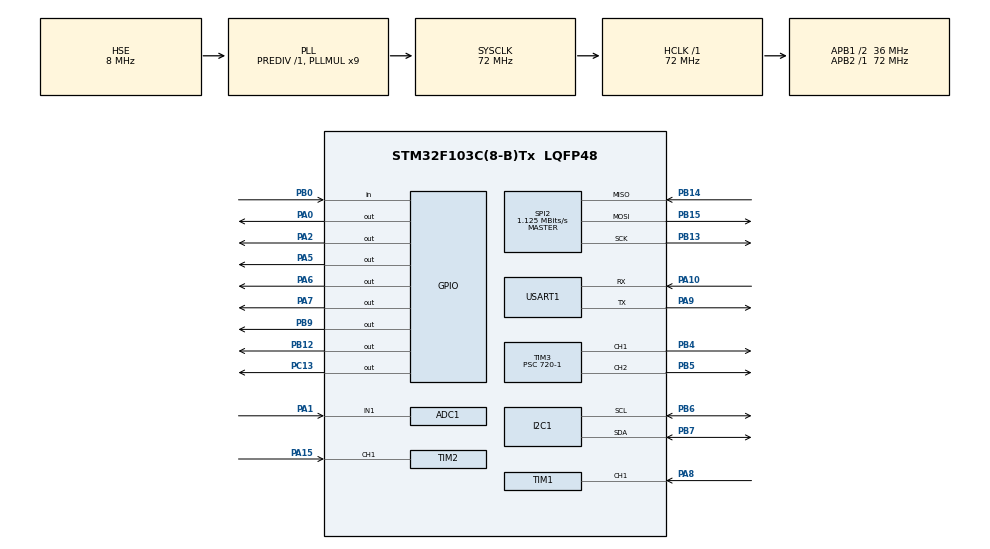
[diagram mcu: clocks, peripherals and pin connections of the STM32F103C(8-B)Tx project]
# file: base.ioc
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ADC1.Channel-0\#ChannelRegularConversion=ADC_CHANNEL_1
ADC1.ContinuousConvMode=ENABLE
ADC1.NbrOfConversionFlag=1
ADC1.Rank-0\#ChannelRegularConversion=1
ADC1.SamplingTime-0\#ChannelRegularConversion=ADC_SAMPLETIME_1CYCLE_5
ADC1.master=1
Mcu.Family=STM32F1
Mcu.Name=STM32F103C(8-B)Tx
Mcu.Package=LQFP48
NVIC.PriorityGroup=NVIC_PRIORITYGROUP_4
NVIC.TIM1_BRK_IRQn=true\:4\:0\:true\:false\:true\:true\:true\:true
NVIC.TIM1_CC_IRQn=true\:4\:0\:true\:false\:true\:true\:true\:true
NVIC.TIM1_TRG_COM_IRQn=true\:4\:0\:true\:false\:true\:true\:true\:true
NVIC.TIM1_UP_IRQn=true\:4\:0\:true\:false\:true\:true\:true\:true
NVIC.TIM3_IRQn=true\:2\:0\:true\:false\:true\:true\:true\:true
NVIC.TIM4_IRQn=true\:15\:0\:false\:false\:true\:false\:true\:true
NVIC.TimeBase=TIM4_IRQn
NVIC.TimeBaseIP=TIM4
PA0-WKUP.GPIO_ModeDefaultOutputPP=GPIO_MODE_OUTPUT_PP
PA0-WKUP.GPIO_PuPd=GPIO_NOPULL
PA0-WKUP.PinState=GPIO_PIN_RESET
PA0-WKUP.Signal=GPIO_Output
PA1.Signal=ADCx_IN1
PA10.Mode=Asynchronous
PA10.Signal=USART1_RX
PA13.Mode=Serial_Wire
PA13.Signal=SYS_JTMS-SWDIO
PA14.Mode=Serial_Wire
PA14.Signal=SYS_JTCK-SWCLK
PA15.Signal=S_TIM2_CH1_ETR
PA2.GPIO_ModeDefaultOutputPP=GPIO_MODE_OUTPUT_PP
PA2.Signal=GPIO_Output
PA5.GPIO_ModeDefaultOutputPP=GPIO_MODE_OUTPUT_PP
PA5.Signal=GPIO_Output
PA6.GPIO_ModeDefaultOutputPP=GPIO_MODE_OUTPUT_OD
PA6.GPIO_PuPd=GPIO_NOPULL
PA6.GPIO_Speed=GPIO_SPEED_FREQ_HIGH
PA6.Signal=GPIO_Output
PA7.GPIO_ModeDefaultOutputPP=GPIO_MODE_OUTPUT_PP
PA7.GPIO_PuPd=GPIO_PULLUP
PA7.PinState=GPIO_PIN_SET
PA7.Signal=GPIO_Output
PA8.Signal=S_TIM1_CH1
PA9.Mode=Asynchronous
PA9.Signal=USART1_TX
PB0.GPIO_Mode=GPIO_MODE_INPUT
PB0.GPIO_PuPd=GPIO_PULLUP
PB0.Signal=GPIO_Input
PB12.GPIO_ModeDefaultOutputPP=GPIO_MODE_OUTPUT_PP
PB12.GPIO_Speed=GPIO_SPEED_FREQ_HIGH
PB12.PinState=GPIO_PIN_SET
PB12.Signal=GPIO_Output
PB13.Mode=Full_Duplex_Master
PB13.Signal=SPI2_SCK
PB14.Mode=Full_Duplex_Master
PB14.Signal=SPI2_MISO
PB15.Mode=Full_Duplex_Master
PB15.Signal=SPI2_MOSI
PB4.Signal=S_TIM3_CH1
PB5.Signal=S_TIM3_CH2
PB6.Mode=I2C
PB6.Signal=I2C1_SCL
PB7.Mode=I2C
PB7.Signal=I2C1_SDA
PB9.GPIO_ModeDefaultOutputPP=GPIO_MODE_OUTPUT_PP
PB9.Signal=GPIO_Output
PC13-TAMPER-RTC.Signal=GPIO_Output
PC14-OSC32_IN.Mode=LSE-External-Oscillator
PC14-OSC32_IN.Signal=RCC_OSC32_IN
PC15-OSC32_OUT.Mode=LSE-External-Oscillator
PC15-OSC32_OUT.Signal=RCC_OSC32_OUT
PD0-OSC_IN.Mode=HSE-External-Oscillator
PD0-OSC_IN.Signal=RCC_OSC_IN
PD1-OSC_OUT.Mode=HSE-External-Oscillator
PD1-OSC_OUT.Signal=RCC_OSC_OUT
ProjectManager.HeapSize=0x200
ProjectManager.StackSize=0x400
ProjectManager.TargetToolchain=MDK-ARM V5.32
RCC.ADCPresc=RCC_ADCPCLK2_DIV6
RCC.AHBFreq_Value=72000000
RCC.APB1CLKDivider=RCC_HCLK_DIV2
RCC.APB1Freq_Value=36000000
RCC.APB1TimFreq_Value=72000000
RCC.APB2Freq_Value=72000000
RCC.APB2TimFreq_Value=72000000
RCC.HCLKFreq_Value=72000000
RCC.PLLMUL=RCC_PLL_MUL9
RCC.PLLSourceVirtual=RCC_PLLSOURCE_HSE
RCC.RTCClockSelection=RCC_RTCCLKSOURCE_LSE
RCC.SYSCLKFreq_VALUE=72000000
RCC.SYSCLKSource=RCC_SYSCLKSOURCE_PLLCLK
RCC.USBFreq_Value=72000000
RTC.Date=30
RTC.Hours=19
RTC.Month=RTC_MONTH_JUNE
RTC.Year=26
SH.ADCx_IN1.0=ADC1_IN1,IN1
SH.S_TIM1_CH1.0=TIM1_CH1,Input_Capture1_from_TI1
SH.S_TIM2_CH1_ETR.0=TIM2_CH1,Input_Capture1_from_TI1
SH.S_TIM3_CH1.0=TIM3_CH1,PWM Generation1 CH1
SH.S_TIM3_CH2.0=TIM3_CH2,PWM Generation2 CH2
SPI2.BaudRatePrescaler=SPI_BAUDRATEPRESCALER_32
SPI2.CLKPhase=SPI_PHASE_2EDGE
SPI2.CLKPolarity=SPI_POLARITY_HIGH
SPI2.CalculateBaudRate=1.125 MBits/s
SPI2.Direction=SPI_DIRECTION_2LINES
SPI2.Mode=SPI_MODE_MASTER
SPI2.VirtualType=VM_MASTER
TIM1.AutoReloadPreload=TIM_AUTORELOAD_PRELOAD_ENABLE
TIM1.Channel-Input_Capture1_from_TI1=TIM_CHANNEL_1
TIM1.ICPolarity_CH1=TIM_INPUTCHANNELPOLARITY_FALLING
TIM1.Period=10000-1
TIM1.Prescaler=72-1
TIM2.AutoReloadPreload=TIM_AUTORELOAD_PRELOAD_ENABLE
TIM2.Channel-Input_Capture1_from_TI1=TIM_CHANNEL_1
TIM2.Channel-Input_Capture2_from_TI1_63=TIM_CHANNEL_2
TIM2.ICPolarity_CH2=TIM_INPUTCHANNELPOLARITY_FALLING
TIM2.Period=65535
TIM2.Prescaler=72-1
TIM3.AutoReloadPreload=TIM_AUTORELOAD_PRELOAD_ENABLE
TIM3.Channel-PWM\ Generation1\ CH1=TIM_CHANNEL_1
TIM3.Channel-PWM\ Generation2\ CH2=TIM_CHANNEL_2
TIM3.Period=2000-1
TIM3.Prescaler=720-1
USART1.VirtualMode=VM_ASYNC
VP_RTC_VS_RTC_Activate.Mode=RTC_Enabled
VP_RTC_VS_RTC_Calendar.Mode=RTC_Calendar
VP_SYS_VS_tim4.Mode=TIM4
VP_TIM1_VS_ClockSourceINT.Mode=Internal
VP_TIM2_VS_ClockSourceINT.Mode=Internal
VP_TIM2_VS_indirect_ch1.Mode=Input_Capture2_from_TI1_63
VP_TIM3_VS_ClockSourceINT.Mode=Internal
board=custom

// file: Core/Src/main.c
/* USER CODE BEGIN Header */
/**
  ******************************************************************************
  * @file           : main.c
  * @brief          : Main program body
  ******************************************************************************
  * @attention
  *
  * Copyright (c) 2026 STMicroelectronics.
  * All rights reserved.
  *
  * This software is licensed under terms that can be found in the LICENSE file
  * in the root directory of this software component.
  * If no LICENSE file comes with this software, it is provided AS-IS.
  *
  ******************************************************************************
  */
/* USER CODE END Header */
#include "main.h"
#include "adc.h"
#include "i2c.h"
#include "rtc.h"
#include "spi.h"
#include "tim.h"
#include "usart.h"
#include "gpio.h"

/* USER CODE BEGIN Includes */
#include "FreeRTOS.h"
#include "task.h"
#include "lightADC.h"
#include "IR.h"
#include "CurtainSwitch.h"
#include "DHT11.h"
#include "buzzer.h"
#include <stdio.h>
#include <string.h>
#include "semphr.h"
#include "event_groups.h"
#include <stdlib.h>
#include <math.h>
/* USER CODE END Includes */

/* USER CODE BEGIN PTD */
#define EVENT_LED_FLASH  (1 << 0)
#define EVENT_BEEP       (1 << 1)
#define EVENT_OLED       (1 << 2)
#define EVENT_CLOSE      (1 << 3)
SemaphoreHandle_t xSemaphore;
EventGroupHandle_t xEventgroup;
QueueHandle_t xSemaphoreMutex;
QueueHandle_t xqueueRedata;  // 红外数据接收队列
EventGroupHandle_t xEventGroupRedTask;

TaskHandle_t start_task_handle;
TaskHandle_t light_task_handle;
TaskHandle_t temp_task_handle;
TaskHandle_t ultrasound_task_handle;
TaskHandle_t rtcTime_task_handle;
TaskHandle_t pwmLed_task_handle;
TaskHandle_t red_task_handle;
TaskHandle_t  event_dispatch_task_handle;
TaskHandle_t flashing_task_handle;

void start_task(void *pvParameters);
void light_task(void *pvParameters);
void temp_task(void *pvParameters);
void pwmLed_task(void *pvParameters);
void ultrasound_task(void *pvParameters);
void rtcTime_task(void *pvParameters);
void red_task(void *pvParameters);
void event_dispatch_task(void *pvParameters);
void flashing_task(void *pvParameters);

#define EVENT_LED (1<<0)
// ??????????????
#define REMOTE_ID 0x00

// ????????????
uint8_t RmtSta = 0;
uint16_t Dval;
uint32_t RmtRec = 0;
uint8_t RmtCnt = 0;

extern uint8_t tim_udt_cnt;
extern uint8_t cap_pol;
extern uint8_t cap_pulse_cnt;
extern uint8_t sta_idle;
extern uint8_t cap_frame;

/* USER CODE END PTD */

/* USER CODE BEGIN PM */
void switch_num(uint16_t num);
/* USER CODE END PM */

void SystemClock_Config(void);

int main(void)
{

  /* MCU Configuration--------------------------------------------------------*/

  /* Reset of all peripherals, Initializes the Flash interface and the Systick. */
  HAL_Init();

  /* Configure the system clock */
  SystemClock_Config();

  /* USER CODE BEGIN SysInit */
// PA0 ?????????500ms??????

  /* USER CODE END SysInit */

  /* Initialize all configured peripherals */
  MX_GPIO_Init();
  MX_USART1_UART_Init();
  MX_ADC1_Init();
  MX_TIM1_Init();
  MX_RTC_Init();
  MX_TIM2_Init();
  MX_TIM3_Init();
  MX_SPI2_Init();
  MX_I2C1_Init();
  /* USER CODE BEGIN 2 */
HAL_TIM_PWM_Start(&htim3,TIM_CHANNEL_1);
HAL_TIM_PWM_Start(&htim3,TIM_CHANNEL_2);
__HAL_TIM_SET_COMPARE(&htim3,TIM_CHANNEL_2,0);

    HAL_TIM_Base_Start_IT(&htim1);
    HAL_TIM_IC_Start_IT(&htim1,TIM_CHANNEL_1);
// HAL_TIM_IC_Start_IT(&htim1,TIM_CHANNEL_2);
// __HAL_TIM_SET_CAPTUREPOLARITY(&htim1,TIM_CHANNEL_2,TIM_ICPOLARITY_FALLING);
// TIM1->CNT=0;
// ????RTC??
RTC_TimeTypeDef timeCfg = {0};
timeCfg.Hours = 22;    // ?? 0~23
timeCfg.Minutes = 0;  // ?? 0~59
timeCfg.Seconds = 0;  // ? 0~59
HAL_RTC_SetTime(&hrtc, &timeCfg, RTC_FORMAT_BIN);

RTC_DateTypeDef dateCfg = {0};
dateCfg.WeekDay = RTC_WEEKDAY_TUESDAY; // ??
dateCfg.Month = RTC_MONTH_JUNE;        // ??
dateCfg.Date = 30;                     // ??
dateCfg.Year = 26;                     // ?????2026
HAL_RTC_SetDate(&hrtc, &dateCfg, RTC_FORMAT_BIN);
  /* USER CODE END 2 */

  /* Infinite loop */
  /* USER CODE BEGIN WHILE */

  // ???????????¨??????
  BaseType_t createRet = xTaskCreate(start_task, "start_task", 128, NULL, 2, &start_task_handle);
  if(createRet != pdPASS)
  {
    while(1)
    {
      HAL_GPIO_TogglePin(GPIOA, GPIO_PIN_0);
      HAL_Delay(300);
    }
  }

  vTaskStartScheduler();

  while (1)
  {
    /* USER CODE END WHILE */

  }
}

void SystemClock_Config(void)
{
  RCC_OscInitTypeDef RCC_OscInitStruct = {0};
  RCC_ClkInitTypeDef RCC_ClkInitStruct = {0};
  RCC_PeriphCLKInitTypeDef PeriphClkInit = {0};

  /** Initializes the RCC Oscillators according to the specified parameters
  * in the RCC_OscInitTypeDef structure.
  */
  RCC_OscInitStruct.OscillatorType = RCC_OSCILLATORTYPE_HSE|RCC_OSCILLATORTYPE_LSE;
  RCC_OscInitStruct.HSEState = RCC_HSE_ON;
  RCC_OscInitStruct.HSEPredivValue = RCC_HSE_PREDIV_DIV1;
  RCC_OscInitStruct.LSEState = RCC_LSE_ON;
  RCC_OscInitStruct.HSIState = RCC_HSI_ON;
  RCC_OscInitStruct.PLL.PLLState = RCC_PLL_ON;
  RCC_OscInitStruct.PLL.PLLSource = RCC_PLLSOURCE_HSE;
  RCC_OscInitStruct.PLL.PLLMUL = RCC_PLL_MUL9;
  if (HAL_RCC_OscConfig(&RCC_OscInitStruct) != HAL_OK)
  {
    Error_Handler();
  }

  /** Initializes the CPU, AHB and APB buses clocks
  */
  RCC_ClkInitStruct.ClockType = RCC_CLOCKTYPE_HCLK|RCC_CLOCKTYPE_SYSCLK
                              |RCC_CLOCKTYPE_PCLK1|RCC_CLOCKTYPE_PCLK2;
  RCC_ClkInitStruct.SYSCLKSource = RCC_SYSCLKSOURCE_PLLCLK;
  RCC_ClkInitStruct.AHBCLKDivider = RCC_SYSCLK_DIV1;
  RCC_ClkInitStruct.APB1CLKDivider = RCC_HCLK_DIV2;
  RCC_ClkInitStruct.APB2CLKDivider = RCC_HCLK_DIV1;

  if (HAL_RCC_ClockConfig(&RCC_ClkInitStruct, FLASH_LATENCY_2) != HAL_OK)
  {
    Error_Handler();
  }
  PeriphClkInit.PeriphClockSelection = RCC_PERIPHCLK_RTC|RCC_PERIPHCLK_ADC;
  PeriphClkInit.RTCClockSelection = RCC_RTCCLKSOURCE_LSE;
  PeriphClkInit.AdcClockSelection = RCC_ADCPCLK2_DIV6;
  if (HAL_RCCEx_PeriphCLKConfig(&PeriphClkInit) != HAL_OK)
  {
    Error_Handler();
  }
}

/* USER CODE BEGIN 4 */

void start_task(void *pvParameters)
{
  char buff[32];
  xSemaphore = xSemaphoreCreateCounting( 1, 1 );
  xEventgroup=xEventGroupCreate();
  //   if(xEventgroup != NULL)
  // {
  //     xEventGroupClearBits(xEventgroup, EVENT_LED);
  // }
    xqueueRedata=xQueueCreate(3,sizeof(struct red_DataTypeDef));
     xEventGroupRedTask=xEventGroupCreate();
  xSemaphoreMutex= xSemaphoreCreateMutex();
  if(xSemaphore !=NULL &&xEventgroup!=NULL){
    sprintf(buff,"success\r\n");
    xSemaphoreTake(xSemaphoreMutex,portMAX_DELAY);
    HAL_UART_Transmit(&huart1,(uint8_t *)buff, strlen(buff),100);
    xSemaphoreGive(xSemaphoreMutex);
  }

  taskENTER_CRITICAL();
  xTaskCreate(light_task, "light_task", 128, NULL, 2, &light_task_handle);
  xTaskCreate(temp_task, "temp_task", 128, NULL, 1, &temp_task_handle);
  xTaskCreate(pwmLed_task, "pwmLed_task", 128, NULL, 4, &pwmLed_task_handle);
  xTaskCreate(ultrasound_task, "ultrasound_task", 128, NULL, 3, &ultrasound_task_handle);
  xTaskCreate(rtcTime_task, "rtcTime_task", 128, NULL, 3, &rtcTime_task_handle);
  xTaskCreate(red_task, "red_task", 128, NULL, 3, &red_task_handle);
    xTaskCreate(event_dispatch_task,"event_dispatch_task",256,NULL,3,&event_dispatch_task_handle);
     xTaskCreate(flashing_task, "flashing_task", 256, NULL, 2, &flashing_task_handle);
  taskEXIT_CRITICAL();
  vTaskDelete(NULL);
}

void flashing_task(void *pvParameters){
   static uint8_t flash_enable = 0;
  while(1){
    EventBits_t bits= xEventGroupWaitBits(xEventGroupRedTask,EVENT_LED_FLASH | EVENT_CLOSE,pdTRUE,pdFALSE,100);
    // if(bits&EVENT_LED_FLASH){
    //   // HAL_GPIO_TogglePin(GPIOA,GPIO_PIN_5);
    //    for(uint8_t i = 0; i < 100; i++)
    //         {
    //           HAL_GPIO_WritePin(GPIOA,GPIO_PIN_5,GPIO_PIN_SET);
    //           vTaskDelay(pdMS_TO_TICKS(100));
    //           HAL_GPIO_WritePin(GPIOA,GPIO_PIN_5,GPIO_PIN_RESET);
    //           vTaskDelay(pdMS_TO_TICKS(100));
    //   //           HAL_GPIO_TogglePin(GPIOA, GPIO_PIN_5);
    //   //           vTaskDelay(pdMS_TO_TICKS(300));
    //         }

    //   //  BUZZER_ON();
    //   //           vTaskDelay(pdMS_TO_TICKS(500));
    //   //           BUZZER_OFF();
    //   }
    //    if(bits&EVENT_CLOSE){
    //     HAL_GPIO_WritePin(GPIOA,GPIO_PIN_5,GPIO_PIN_RESET);
    //   }
     if(bits & EVENT_LED_FLASH){
            flash_enable = 1; // ??????
        }
        if(bits & EVENT_CLOSE){
            flash_enable = 0;
            HAL_GPIO_WritePin(GPIOA,GPIO_PIN_5,GPIO_PIN_RESET);
        }

        // ???????????????
        if(flash_enable){
            HAL_GPIO_TogglePin(GPIOA,GPIO_PIN_5);
        }else{
            HAL_GPIO_WritePin(GPIOA,GPIO_PIN_5,GPIO_PIN_RESET);
        }
    vTaskDelay(pdMS_TO_TICKS(10));
  }
}

// extern uint8_t cap_frame;
 void event_dispatch_task(void *pvParameters){
  while(1){
    // struct red_DataTypeDef data;
   if(xQueueReceive(xqueueRedata,&red_data,100)==pdPASS){
      if(red_data.been_event==1){
        xEventGroupSetBits(xEventGroupRedTask,EVENT_BEEP);
      }else if(red_data.led_flashing_event==1){
        xEventGroupSetBits(xEventGroupRedTask,EVENT_LED_FLASH);
      }else if(red_data.oled_event==1){
        xEventGroupSetBits(xEventGroupRedTask,EVENT_LED);
      }else if(red_data.all_close==1){
        xEventGroupSetBits(xEventGroupRedTask,EVENT_CLOSE);
      }
    }
    vTaskDelay(pdMS_TO_TICKS(10));
  }

 }

void red_task(void *pvParameters){
  while (1)
  {
        if(cap_frame)//?????????
        {
            HAL_UART_Transmit(&huart1,"Decode Start\r\n",14,100);
            hx1838_proc(hx1838_data_decode());//????
            cap_frame = 0;

        }

    // 50ms????????CPU
    vTaskDelay(pdMS_TO_TICKS(50));
  }
}

void light_task(void *pvParameters)
{
  uint16_t value=0;
  char buff[32];
  while(1){
    value=Read_light_value();
    sprintf(buff,"light value:%d\r\n",value);
    xSemaphoreTake(xSemaphoreMutex,portMAX_DELAY);
    HAL_UART_Transmit(&huart1,(uint8_t *)buff, strlen(buff),100);
    xSemaphoreGive(xSemaphoreMutex);
    vTaskDelay(1000);
    if(value<300){
      switch_num(50);
    }else if(value>=300&&value<1000){
       switch_num(250);
    }
  }
}

void temp_task(void *pvParameters)
{
 float value;
  char buff[32];
  DHT11_Data tempdat;
  while(1){
    if(DHT11_Write()==DHT11_OK){
      if( DHT11_Read(&tempdat)==DHT11_OK){
                sprintf(buff,"Temperature: %.1f C, Humidity: %.1f%%RH\r\n",
                tempdat.temperature, tempdat.humidity);
        xSemaphoreTake(xSemaphoreMutex,portMAX_DELAY);
        HAL_UART_Transmit(&huart1,(uint8_t *)buff, strlen(buff),100);
        xSemaphoreGive(xSemaphoreMutex);
      }

    }
    if(tempdat.temperature<31){
      // switch_num(250);
      BUZZER_OFF();
    }else if(tempdat.temperature>=31){
      //  switch_num(50);
       BUZZER_ON();
    }
    vTaskDelay(1000);
  }
}

void rtcTime_task(void *pvParameters){
  RTC_TimeTypeDef stime;
  RTC_DateTypeDef sData;
  char buff[32];
  while(1){

    HAL_RTC_GetTime(&hrtc,&stime,RTC_FORMAT_BIN);
    HAL_RTC_GetDate(&hrtc,&sData,RTC_FORMAT_BIN);
    if(stime.Hours>=21||stime.Hours<=8){
      xEventGroupSetBits(xEventgroup,EVENT_LED);
    }else{
      xEventGroupClearBits(xEventgroup,EVENT_LED);
    }
    sprintf(buff,"time:%d\r\n",stime.Hours);
    xSemaphoreTake(xSemaphoreMutex,portMAX_DELAY);
    HAL_UART_Transmit(&huart1,(uint8_t *)buff,strlen(buff),100);
    xSemaphoreGive(xSemaphoreMutex);
    vTaskDelay(pdMS_TO_TICKS(1000));
  }
}

void pwmLed_task(void *pvParameters){
  while (1)
  {
    // EventBits_t bits = xEventGroupGetBits(xEventgroup);
    EventBits_t bits =xEventGroupWaitBits(xEventgroup,EVENT_LED,pdTRUE,pdFALSE,portMAX_DELAY);
    if(bits & EVENT_LED){
      // HAL_TIM_PWM_Start(&htim1,TIM_CHANNEL_2);
      for(uint32_t i=0;i<1999;i++){
        __HAL_TIM_SET_COMPARE(&htim3,TIM_CHANNEL_2,i);
        vTaskDelay(pdMS_TO_TICKS(1));
      }
      for(uint32_t i=1999;i>0;i--){
        __HAL_TIM_SET_COMPARE(&htim3,TIM_CHANNEL_2,i);
        vTaskDelay(pdMS_TO_TICKS(1));
      }
      // HAL_TIM_PWM_Stop(&htim1,TIM_CHANNEL_2);

    }else{
      __HAL_TIM_SET_COMPARE(&htim3,TIM_CHANNEL_2,0);
    }
  }
}
void ultrasound_task(void *pvParameters){
  char buff[32];
   HAL_TIM_IC_Start(&htim2,TIM_CHANNEL_1);
    HAL_TIM_IC_Start(&htim2,TIM_CHANNEL_2);
  while(1){
    // ??cut
    __HAL_TIM_SET_COUNTER(&htim2,0);
    // ??cc1?cc2??
    __HAL_TIM_CLEAR_FLAG(&htim2,TIM_FLAG_CC1);
    __HAL_TIM_CLEAR_FLAG(&htim2,TIM_FLAG_CC2);
    // ??1?2??

    // trig??10us ?????????
    HAL_GPIO_WritePin(GPIOA,GPIO_PIN_2,GPIO_PIN_SET);
   vTaskDelay(pdMS_TO_TICKS(1));
    HAL_GPIO_WritePin(GPIOA,GPIO_PIN_2,GPIO_PIN_RESET);
    // ?38us???????????50???????
    // HAL_GetTick()???????
    // uint16_t expireTime=HAL_GetTick()+50;
    uint16_t expireTime=xTaskGetTickCount() + pdMS_TO_TICKS(50);
    // ????? 1?????
    uint8_t success=0;
    while(expireTime>xTaskGetTickCount()){
      uint32_t cc1Flag=__HAL_TIM_GET_FLAG(&htim2,TIM_FLAG_CC1);
      uint32_t cc2Flag=__HAL_TIM_GET_FLAG(&htim2,TIM_FLAG_CC2);
      if(cc1Flag&&cc2Flag){
         success=1;
         break;
      }
    }
    // ????
    // HAL_TIM_IC_Stop(&htim2,TIM_CHANNEL_1);
    // HAL_TIM_IC_Stop(&htim2,TIM_CHANNEL_2);
    if(success){
       // ???? 1e-6f??1us,1us=1/72mhz??71+1?
      uint32_t cc1value=__HAL_TIM_GET_COMPARE(&htim2,TIM_CHANNEL_1 );
      uint32_t cc2value=__HAL_TIM_GET_COMPARE(&htim2,TIM_CHANNEL_2);
      // ??
      float pulswidth=(cc2value-cc1value)*1e-6f;
      // ??=??*?????2 ????=??
      float distance=340.0f*pulswidth/2.0f;
        sprintf(buff,"distance: %.1f\r\n",
                distance);
      xSemaphoreTake(xSemaphoreMutex,portMAX_DELAY);
      HAL_UART_Transmit(&huart1,(uint8_t *)buff, strlen(buff),100);
      xSemaphoreGive(xSemaphoreMutex);
      if(distance <0.1){
        BUZZER_ON();
      }else{
        BUZZER_OFF();
      }
    }
    // else
    //   {
    //       sprintf(buff, "Timeout: No echo received!\r\n");
    //       HAL_UART_Transmit(&huart1, (uint8_t *)buff, strlen(buff), 100);
    //   }

vTaskDelay(pdMS_TO_TICKS(1000));
  }
}

void switch_num(uint16_t num){
  if(xSemaphoreTake(xSemaphore,pdMS_TO_TICKS(100))==pdTRUE){
    __HAL_TIM_SET_COMPARE(&htim3,TIM_CHANNEL_1,num);
     vTaskDelay(pdMS_TO_TICKS(500));
     xSemaphoreGive(xSemaphore);
  }
}
/* USER CODE END 4 */

void HAL_TIM_PeriodElapsedCallback(TIM_HandleTypeDef *htim)
{
  /* USER CODE BEGIN Callback 0 */
	if(TIM1 == htim->Instance)
	{
        if(sta_idle)                                          //空闲状态，不作任何处理
        {
            return;
        }

        tim_udt_cnt++;                                         //溢出一次
        if(tim_udt_cnt == 3)                                   //溢出3次
        {
            tim_udt_cnt = 0;                                   //溢出次数清零
            sta_idle    = 1;                                   //这是为空闲状态
            cap_frame   = 1;                                   //标记捕获到新的数据
        }
	}
  /* USER CODE END Callback 0 */
  if (htim->Instance == TIM4) {
    HAL_IncTick();
  }
}

void Error_Handler(void)
{
  __disable_irq();
  while (1)
  {
  }
}
